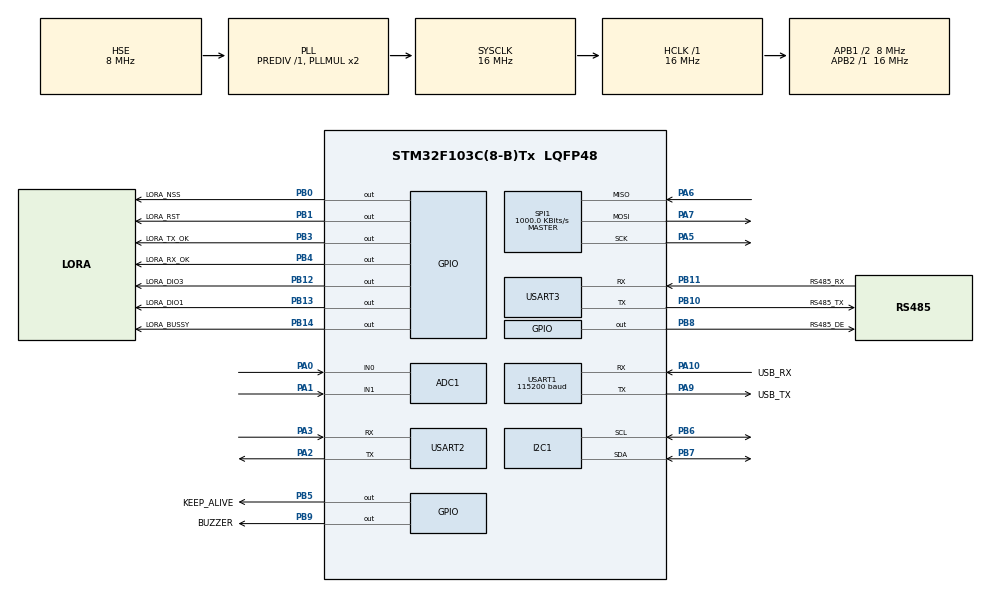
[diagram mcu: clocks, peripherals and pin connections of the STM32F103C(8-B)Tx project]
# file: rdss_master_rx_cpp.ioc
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ADC1.Channel-0\#ChannelRegularConversion=ADC_CHANNEL_0
ADC1.Channel-1\#ChannelRegularConversion=ADC_CHANNEL_1
ADC1.Channel-2\#ChannelRegularConversion=ADC_CHANNEL_VREFINT
ADC1.Channel-4\#ChannelRegularConversion=ADC_CHANNEL_0
ADC1.ContinuousConvMode=DISABLE
ADC1.ExternalTrigConv=ADC_SOFTWARE_START
ADC1.NbrOfConversion=4
ADC1.NbrOfConversionFlag=1
ADC1.Rank-0\#ChannelRegularConversion=1
ADC1.Rank-1\#ChannelRegularConversion=2
ADC1.Rank-2\#ChannelRegularConversion=3
ADC1.Rank-4\#ChannelRegularConversion=4
ADC1.SamplingTime-0\#ChannelRegularConversion=ADC_SAMPLETIME_239CYCLES_5
ADC1.SamplingTime-1\#ChannelRegularConversion=ADC_SAMPLETIME_239CYCLES_5
ADC1.SamplingTime-2\#ChannelRegularConversion=ADC_SAMPLETIME_239CYCLES_5
ADC1.SamplingTime-4\#ChannelRegularConversion=ADC_SAMPLETIME_1CYCLE_5
ADC1.master=1
I2C1.I2C_Mode=I2C_Fast
IWDG.Prescaler=IWDG_PRESCALER_128
IWDG.Reload=1875
Mcu.Family=STM32F1
Mcu.Name=STM32F103C(8-B)Tx
Mcu.Package=LQFP48
NVIC.PriorityGroup=NVIC_PRIORITYGROUP_4
NVIC.USART1_IRQn=true\:0\:0\:false\:false\:true\:true\:true\:true
PA0-WKUP.Signal=ADCx_IN0
PA1.Signal=ADCx_IN1
PA10.GPIO_Label=USB_RX
PA10.Mode=Asynchronous
PA10.Signal=USART1_RX
PA13.Mode=Serial_Wire
PA13.Signal=SYS_JTMS-SWDIO
PA14.Mode=Serial_Wire
PA14.Signal=SYS_JTCK-SWCLK
PA2.Mode=Asynchronous
PA2.Signal=USART2_TX
PA3.Mode=Asynchronous
PA3.Signal=USART2_RX
PA5.Mode=Full_Duplex_Master
PA5.Signal=SPI1_SCK
PA6.Mode=Full_Duplex_Master
PA6.Signal=SPI1_MISO
PA7.Mode=Full_Duplex_Master
PA7.Signal=SPI1_MOSI
PA9.GPIO_Label=USB_TX
PA9.Mode=Asynchronous
PA9.Signal=USART1_TX
PB0.GPIO_Label=LORA_NSS
PB0.Signal=GPIO_Output
PB1.GPIO_Label=LORA_RST
PB1.Signal=GPIO_Output
PB10.GPIO_Label=RS485_TX
PB10.Mode=Asynchronous
PB10.Signal=USART3_TX
PB11.GPIO_Label=RS485_RX
PB11.Mode=Asynchronous
PB11.Signal=USART3_RX
PB12.GPIO_Label=LORA_DIO3
PB12.Signal=GPIO_Output
PB13.GPIO_Label=LORA_DIO1
PB13.Signal=GPIO_Output
PB14.GPIO_Label=LORA_BUSSY
PB14.Signal=GPIO_Output
PB3.GPIO_Label=LORA_TX_OK
PB3.Signal=GPIO_Output
PB4.GPIO_Label=LORA_RX_OK
PB4.Signal=GPIO_Output
PB5.GPIO_Label=KEEP_ALIVE
PB5.Signal=GPIO_Output
PB6.Mode=I2C
PB6.Signal=I2C1_SCL
PB7.Mode=I2C
PB7.Signal=I2C1_SDA
PB8.GPIO_Label=RS485_DE
PB8.Signal=GPIO_Output
PB9.GPIO_Label=BUZZER
PB9.Signal=GPIO_Output
PD0-OSC_IN.Mode=HSE-External-Oscillator
PD0-OSC_IN.Signal=RCC_OSC_IN
PD1-OSC_OUT.Mode=HSE-External-Oscillator
PD1-OSC_OUT.Signal=RCC_OSC_OUT
ProjectManager.HeapSize=0x200
ProjectManager.StackSize=0x400
ProjectManager.TargetToolchain=STM32CubeIDE
RCC.AHBFreq_Value=16000000
RCC.APB1CLKDivider=RCC_HCLK_DIV2
RCC.APB1Freq_Value=8000000
RCC.APB1TimFreq_Value=16000000
RCC.APB2Freq_Value=16000000
RCC.APB2TimFreq_Value=16000000
RCC.HCLKFreq_Value=16000000
RCC.PLLSourceVirtual=RCC_PLLSOURCE_HSE
RCC.SYSCLKFreq_VALUE=16000000
RCC.SYSCLKSource=RCC_SYSCLKSOURCE_PLLCLK
RCC.USBFreq_Value=16000000
SH.ADCx_IN0.0=ADC1_IN0,IN0
SH.ADCx_IN1.0=ADC1_IN1,IN1
SPI1.BaudRatePrescaler=SPI_BAUDRATEPRESCALER_16
SPI1.CRCCalculation=SPI_CRCCALCULATION_DISABLE
SPI1.CalculateBaudRate=1000.0 KBits/s
SPI1.Direction=SPI_DIRECTION_2LINES
SPI1.Mode=SPI_MODE_MASTER
SPI1.VirtualType=VM_MASTER
USART1.BaudRate=115200
USART1.VirtualMode=VM_ASYNC
USART2.VirtualMode=VM_ASYNC
USART3.VirtualMode=VM_ASYNC
VP_ADC1_TempSens_Input.Mode=IN-TempSens
VP_ADC1_Vref_Input.Mode=IN-Vrefint
VP_CRC_VS_CRC.Mode=CRC_Activate
VP_IWDG_VS_IWDG.Mode=IWDG_Activate
board=custom

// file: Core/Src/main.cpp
/* USER CODE BEGIN Header */
/**
 ******************************************************************************
 * @file           : main.c
 * @brief          : Main program body
 ******************************************************************************
 * @attention
 *
 * Copyright (c) 2024 STMicroelectronics.
 * All rights reserved.
 *
 * This software is licensed under terms that can be found in the LICENSE file
 * in the root directory of this software component.
 * If no LICENSE file comes with this software, it is provided AS-IS.
 *
 ******************************************************************************
 */
/* USER CODE END Header */
#include "main.h"
#include "Gpio.hpp"
#include "GpioHandler.hpp"
#include "Lora.hpp"
#include "Memory.hpp"
#include "UartHandler.hpp"

/* USER CODE BEGIN PTD */

uint8_t lora_rcv_buffer[255] = { 0 };
uint8_t lora_rcv_bytes = 0;
uint32_t start = 0;
uint32_t finish = 0;
uint8_t buffer_rec[0x0B] = {0x7E, 0x00, 0x01, 0x02, 0x03, 0x0A, 0X11, 0X22, 0X88, 0X82, 0X7F};
uint32_t buffer_times_id[0x0A] = {0};
uint8_t buffer_id[0x0B] = {0};
uint8_t data_test[] ={ 0x7E, 0x10, 0x01, 0x11, 0xB2, 0x51, 0x84, 0x61, 0xC5, 0x2F, 0x88, 0x3E,
		0x92, 0x27, 0xBA, 0x59, 0xA3, 0x6C, 0xCD, 0x18, 0x8F, 0x49, 0x95, 0x35, 0xA8, 0x67, 0xDA,
		0x1F, 0x73, 0x46, 0x87, 0xB9, 0x21, 0xC2, 0x58, 0x3B, 0x76, 0x29, 0xDE, 0x14, 0x64, 0x93,
		0x4A, 0xBF, 0x22, 0x7D, 0xAC, 0x31, 0x98, 0x65, 0xDA, 0x2E, 0x50, 0x89, 0x34, 0xA1, 0x77,
		0xCE, 0x15, 0x6D, 0x53, 0xB4, 0x82, 0x27, 0x9F, 0x41, 0x6B, 0xC8, 0x32, 0xA7, 0x90, 0x54,
		0xE1, 0x2A, 0x76, 0xB3, 0x59, 0xCD, 0x24, 0x8B, 0x35, 0xE6, 0x93, 0x4F, 0xAA, 0x78, 0x61,
		0xB0, 0x2D, 0x97, 0x40, 0xAF, 0x64, 0xD3, 0x1A, 0x8E, 0x35, 0xC9, 0x53, 0xBD, 0x21, 0x74,
		0xE8, 0x69, 0xB2, 0x45, 0xAC, 0x2F, 0x90, 0xD6, 0x38, 0x1F, 0x72, 0xAB, 0x54, 0xE3, 0x6C,
		0x9A, 0x27, 0x51, 0xC4, 0xB8, 0x6E, 0xD2, 0x13, 0x7F, 0x9D, 0x35, 0x80, 0x4C, 0xB5, 0x63,
		0xDE, 0x28, 0x7B, 0x94, 0x5F, 0xA1, 0x6D, 0x42, 0xBE, 0x2A, 0x75, 0x90, 0x58, 0xC6, 0x3F,
		0xAD, 0x71, 0xD0, 0x37, 0xE9, 0x14, 0x65, 0xBF, 0x48, 0x93, 0x2D, 0x79, 0xA0, 0x46, 0xC2,
		0x1E, 0x8A, 0x54, 0xF9, 0x30, 0xB6, 0x67, 0xD8, 0x21, 0x9E, 0x4B, 0x73, 0xAF, 0x5D, 0xCE,
		0x34, 0x98, 0x41, 0xB3, 0x26, 0xE7, 0x5F, 0xA2, 0x4D, 0x91, 0x78, 0x6C, 0xBD, 0x39, 0xE0,
		0x17, 0x8D, 0x54, 0xC7, 0x29, 0xB1, 0x68, 0x95, 0x3C, 0xE2, 0x4A, 0x7D, 0xA8, 0x37, 0xCF,
		0x59, 0x94, 0x20, 0x62, 0xAD, 0x38, 0xF1, 0x5C, 0xB9, 0x43, 0xE6, 0x7A, 0x2F, 0x84, 0xC1,
		0x19, 0x63, 0xD7, 0x5B, 0xA4, 0x72, 0x39, 0xE1, 0x4C, 0xB5, 0x28, 0x90, 0xD3, 0x7F, 0x6A,
		0xF4, 0x12, 0x8B, 0x5E, 0xA7, 0x3D, 0xC8, 0x53, 0x1A, 0x87, 0xB0, 0x4E, 0x6F, 0x9B, 0xD4,
		0x27, 0x5F, 0xB1, 0x3A, 0xE9, 0x46, 0xCD };
/* USER CODE END PTD */

ADC_HandleTypeDef hadc1;

CRC_HandleTypeDef hcrc;

I2C_HandleTypeDef hi2c1;

IWDG_HandleTypeDef hiwdg;

SPI_HandleTypeDef hspi1;

UART_HandleTypeDef huart1;
UART_HandleTypeDef huart2;
UART_HandleTypeDef huart3;

/* USER CODE BEGIN PV */
UartHandler uart_mini_pc = UartHandler(&huart2);
UartHandler uart_cfg = UartHandler(&huart2);

uint8_t bytes_reciv_mini_pc;
uint8_t bytes_reciv_software;
uint8_t data_reciv_mini_pc[255] = { 0 };
uint8_t data_reciv_software[255] = { 0 };
/* USER CODE END PV */

void SystemClock_Config(void);
static void MX_GPIO_Init(void);
static void MX_I2C1_Init(void);
static void MX_SPI1_Init(void);
static void MX_USART1_UART_Init(void);
static void MX_USART2_UART_Init(void);
static void MX_USART3_UART_Init(void);
static void MX_ADC1_Init(void);
static void MX_CRC_Init(void);
static void MX_IWDG_Init(void);

int main(void) {

	/* MCU Configuration--------------------------------------------------------*/

	/* Reset of all peripherals, Initializes the Flash interface and the Systick. */
	HAL_Init();

	/* Configure the system clock */
	SystemClock_Config();

	/* Initialize all configured peripherals */
	MX_GPIO_Init();
	MX_I2C1_Init();
	MX_SPI1_Init();
	MX_USART1_UART_Init();
	MX_USART2_UART_Init();
	MX_USART3_UART_Init();
	MX_ADC1_Init();
	MX_CRC_Init();
	//MX_IWDG_Init();
	/* USER CODE BEGIN 2 */
	Memory eeprom = Memory(&hi2c1);

	GpioHandler gpio_handler = GpioHandler();

	CommandMessage cmd_sniffer = CommandMessage(
			static_cast<uint8_t>(MODULE_FUNCTION::SNIFFER), 0x00);

	CommandMessage command = CommandMessage(
				static_cast<uint8_t>(MODULE_FUNCTION::SERVER), 0x00);

	Gpio nss_lora = Gpio(LORA_NSS_GPIO_Port, LORA_NSS_Pin);
	Gpio rst_lora = Gpio(LORA_RST_GPIO_Port, LORA_RST_Pin);

	Lora lora = Lora(nss_lora, rst_lora, &hspi1, &eeprom);
	Gpio lora_rx_led = Gpio(LORA_RX_OK_GPIO_Port, LORA_RX_OK_Pin);

//	lora.set_lora_settings(LoraBandWidth::BW_500KHZ, CodingRate::CR_4_6,
//			SpreadFactor::SF_7, DOWNLINK_FREQ, UPLINK_FREQ);
	lora.check_already_store_data();
	uart_cfg.enable_receive_interrupt(1);

	HAL_GPIO_WritePin(KEEP_ALIVE_GPIO_Port, KEEP_ALIVE_Pin, GPIO_PIN_SET);
	uint32_t keep_alive_counter = HAL_GetTick();

	/* USER CODE END 2 */

	/* Infinite loop */
	while (1) {

		//RECEPCCION LORA
		lora_rcv_bytes = lora.receive(lora_rcv_buffer, LinkMode::UPLINK);
		if (lora_rcv_bytes > 0) {
			gpio_handler.on(lora_rx_led);

			STATUS status_data = cmd_sniffer.validate(lora_rcv_buffer,
					lora_rcv_bytes);
			cmd_sniffer.saveFrame(lora_rcv_buffer, lora_rcv_bytes); // llegan 197 bytes
			if ((status_data == STATUS::RETRANSMIT_FRAME)) {
				uart_mini_pc.transmitMessage(lora_rcv_buffer, lora_rcv_bytes);
			}
			memset(lora_rcv_buffer, 0, sizeof(lora_rcv_buffer));

			gpio_handler.off(lora_rx_led);
			memset(lora_rcv_buffer, 0, lora_rcv_bytes);
			lora_rcv_bytes = 0;
			cmd_sniffer.reset(1);
			/* USER CODE BEGIN 3 */
		}

		//Configuracion Lora por UART de forma local
		if (bytes_reciv_software > 0) {
			STATUS status_data = command.validate(data_reciv_software,
					bytes_reciv_software);
			if (status_data == STATUS::CONFIG_FRAME) {

				switch (command.getCommandId()) {

				case QUERY_RX_FREQ: {
					uint8_t freq_array[4];
					lora.read_settings();
					uint32_t rx_freq = lora.get_rx_frequency();
					float freqOut;
					freqOut = rx_freq / 1000000.0f;
					memcpy(freq_array, &freqOut, sizeof(freqOut));
					command.set_message(freq_array, sizeof(freq_array));
					std::vector<uint8_t> message_composed =
							command.get_composed_message();
					command.composeMessage(&message_composed);
					message_composed = command.get_composed_message();
					uart_cfg.transmitMessage(message_composed.data(),
							message_composed.size());
					command.reset(1);
					message_composed.clear();
					break;
				}
				case QUERY_TX_FREQ: {
					uint8_t freq_array[4];
					lora.read_settings();
					uint32_t tx_freq = lora.get_tx_frequency();
					float freqOut;
					freqOut = tx_freq / 1000000.0f;
					memcpy(freq_array, &freqOut, sizeof(freqOut));
					command.set_message(freq_array, sizeof(freq_array));
					std::vector<uint8_t> message_composed =
							command.get_composed_message();
					command.composeMessage(&message_composed);
					message_composed = command.get_composed_message();
					uart_cfg.transmitMessage(message_composed.data(),
							message_composed.size());
					command.reset(1);
					message_composed.clear();
					break;
				}
				case QUERY_SPREAD_FACTOR: {
					uint8_t spread_array[1];
					lora.read_settings();
					uint8_t spread_factor = lora.get_spread_factor();
					spread_factor = spread_factor - SPREAD_FACTOR_OFFSET;
					memcpy(spread_array, &spread_factor, sizeof(spread_factor));
					command.set_message(spread_array, sizeof(spread_array));
					std::vector<uint8_t> message_composed =
							command.get_composed_message();
					command.composeMessage(&message_composed);
					message_composed = command.get_composed_message();
					uart_cfg.transmitMessage(message_composed.data(),
							message_composed.size());
					command.reset(1);
					message_composed.clear();
					break;
				}
				case QUERY_CODING_RATE: {
					uint8_t coding_array[1];
					lora.read_settings();
					uint8_t coding_rate = lora.get_coding_rate();
					memcpy(coding_array, &coding_rate, sizeof(coding_rate));
					command.set_message(coding_array, sizeof(coding_array));
					std::vector<uint8_t> message_composed =
							command.get_composed_message();
					command.composeMessage(&message_composed);
					message_composed = command.get_composed_message();
					uart_cfg.transmitMessage(message_composed.data(),
							message_composed.size());
					command.reset(1);
					message_composed.clear();
					break;
				}
				case QUERY_BANDWIDTH: {
					uint8_t bw_array[1];
					lora.read_settings();
					uint8_t bw = lora.get_bandwidth();
					bw = bw + BANDWIDTH_OFFSET;
					memcpy(bw_array, &bw, sizeof(bw));
					command.set_message(bw_array, sizeof(bw_array));
					std::vector<uint8_t> message_composed =
							command.get_composed_message();
					command.composeMessage(&message_composed);
					message_composed = command.get_composed_message();
					uart_cfg.transmitMessage(message_composed.data(),
							message_composed.size());
					command.reset(1);
					message_composed.clear();
					break;
				}
				case SET_TX_FREQ: {
					uint32_t freq = command.getDataAsUint32();
					int freq_int = command.freqDecode();
					freq = (uint32_t) freq_int;
					lora.set_tx_freq(freq);
					lora.save_settings();
					lora.configure_modem();
					uint8_t freq_array[4];
					lora.read_settings();
					uint32_t tx_freq = lora.get_tx_frequency();
					float freqOut;
					freqOut = tx_freq / 1000000.0f;
					memcpy(freq_array, &freqOut, sizeof(freqOut));
					command.set_message(freq_array, sizeof(freq_array));
					std::vector<uint8_t> message_composed =
							command.get_composed_message();
					command.composeMessage(&message_composed);
					message_composed = command.get_composed_message();
					uart_cfg.transmitMessage(message_composed.data(),
							message_composed.size());
					command.reset(1);
					message_composed.clear();

					break;
				}
				case SET_RX_FREQ: {
					uint32_t freq = command.getDataAsUint32();

					int freq_int = command.freqDecode();

					freq = (uint32_t) freq_int;

					lora.set_rx_freq(freq);
					lora.save_settings();
					lora.configure_modem();
					uint8_t freq_array[4];
					lora.read_settings();
					uint32_t rx_freq = lora.get_rx_frequency();
					float freqOut;
					freqOut = rx_freq / 1000000.0f;
					memcpy(freq_array, &freqOut, sizeof(freqOut));
					command.set_message(freq_array, sizeof(freq_array));
					std::vector<uint8_t> message_composed =
							command.get_composed_message();
					command.composeMessage(&message_composed);
					message_composed = command.get_composed_message();
					uart_cfg.transmitMessage(message_composed.data(),
							message_composed.size());
					command.reset(1);
					message_composed.clear();
					break;
				}
				case SET_BANDWIDTH: {
					uint8_t bd = command.getDataAsUint8();
					bd = bd - BANDWIDTH_OFFSET;
					lora.set_bandwidth(bd);
					lora.save_settings();
					lora.configure_modem();
					uint8_t bw_array[1];
					lora.read_settings();
					uint8_t bw = lora.get_bandwidth();
					bw = bw + BANDWIDTH_OFFSET;
					memcpy(bw_array, &bw, sizeof(bw));
					command.set_message(bw_array, sizeof(bw_array));
					std::vector<uint8_t> message_composed =
							command.get_composed_message();
					command.composeMessage(&message_composed);
					message_composed = command.get_composed_message();
					uart_cfg.transmitMessage(message_composed.data(),
							message_composed.size());
					command.reset(1);
					message_composed.clear();
					break;
				}
				case SET_SPREAD_FACTOR: {
					uint8_t sf = command.getDataAsUint8();
					sf = sf + SPREAD_FACTOR_OFFSET;
					lora.set_spread_factor(sf);
					lora.save_settings();
					lora.configure_modem();
					uint8_t spread_array[1];
					lora.read_settings();
					uint8_t spread_factor = lora.get_spread_factor();
					spread_factor = spread_factor - SPREAD_FACTOR_OFFSET;
					memcpy(spread_array, &spread_factor, sizeof(spread_factor));
					command.set_message(spread_array, sizeof(spread_array));
					std::vector<uint8_t> message_composed =
							command.get_composed_message();
					command.composeMessage(&message_composed);
					message_composed = command.get_composed_message();
					uart_cfg.transmitMessage(message_composed.data(),
							message_composed.size());
					command.reset(1);
					message_composed.clear();
					break;
				}
				case SET_CODING_RATE: {
					uint8_t cr = command.getDataAsUint8();
					lora.set_coding_rate(cr);
					lora.save_settings();
					lora.configure_modem();
					uint8_t coding_array[1];
					lora.read_settings();
					uint8_t coding_rate = lora.get_coding_rate();
					memcpy(coding_array, &coding_rate, sizeof(coding_rate));
					command.set_message(coding_array, sizeof(coding_array));
					std::vector<uint8_t> message_composed =
							command.get_composed_message();
					command.composeMessage(&message_composed);
					message_composed = command.get_composed_message();
					uart_cfg.transmitMessage(message_composed.data(),
							message_composed.size());
					command.reset(1);
					message_composed.clear();
					break;
				}
				case SET_UART_BAUDRATE: {
					lora.set_default_parameters();
				}
				default:
					break;
				}

			}
			memset(data_reciv_software, 0, bytes_reciv_software);
			bytes_reciv_software = 0;

			/* USER CODE END 3 */
		}

		if (HAL_GetTick() - keep_alive_counter > 1000)
			keep_alive_counter = HAL_GetTick();
		else {
			if (HAL_GetTick() - keep_alive_counter > 50)
				HAL_GPIO_WritePin(KEEP_ALIVE_GPIO_Port, KEEP_ALIVE_Pin,
						GPIO_PIN_RESET);
			else
				HAL_GPIO_WritePin(KEEP_ALIVE_GPIO_Port, KEEP_ALIVE_Pin,
						GPIO_PIN_SET);
		}

	}
}

void HAL_UART_RxCpltCallback(UART_HandleTypeDef *huart)
{
	if (&huart2 == huart)
		bytes_reciv_software = uart_cfg.read_byte(data_reciv_software);

}

void SystemClock_Config(void)
{
  RCC_OscInitTypeDef RCC_OscInitStruct = {0};
  RCC_ClkInitTypeDef RCC_ClkInitStruct = {0};
  RCC_PeriphCLKInitTypeDef PeriphClkInit = {0};

  /** Initializes the RCC Oscillators according to the specified parameters
  * in the RCC_OscInitTypeDef structure.
  */
  RCC_OscInitStruct.OscillatorType = RCC_OSCILLATORTYPE_LSI|RCC_OSCILLATORTYPE_HSE;
  RCC_OscInitStruct.HSEState = RCC_HSE_ON;
  RCC_OscInitStruct.HSEPredivValue = RCC_HSE_PREDIV_DIV1;
  RCC_OscInitStruct.HSIState = RCC_HSI_ON;
  RCC_OscInitStruct.LSIState = RCC_LSI_ON;
  RCC_OscInitStruct.PLL.PLLState = RCC_PLL_ON;
  RCC_OscInitStruct.PLL.PLLSource = RCC_PLLSOURCE_HSE;
  RCC_OscInitStruct.PLL.PLLMUL = RCC_PLL_MUL2;
  if (HAL_RCC_OscConfig(&RCC_OscInitStruct) != HAL_OK)
  {
    Error_Handler();
  }

  /** Initializes the CPU, AHB and APB buses clocks
  */
  RCC_ClkInitStruct.ClockType = RCC_CLOCKTYPE_HCLK|RCC_CLOCKTYPE_SYSCLK
                              |RCC_CLOCKTYPE_PCLK1|RCC_CLOCKTYPE_PCLK2;
  RCC_ClkInitStruct.SYSCLKSource = RCC_SYSCLKSOURCE_PLLCLK;
  RCC_ClkInitStruct.AHBCLKDivider = RCC_SYSCLK_DIV1;
  RCC_ClkInitStruct.APB1CLKDivider = RCC_HCLK_DIV2;
  RCC_ClkInitStruct.APB2CLKDivider = RCC_HCLK_DIV1;

  if (HAL_RCC_ClockConfig(&RCC_ClkInitStruct, FLASH_LATENCY_0) != HAL_OK)
  {
    Error_Handler();
  }
  PeriphClkInit.PeriphClockSelection = RCC_PERIPHCLK_ADC;
  PeriphClkInit.AdcClockSelection = RCC_ADCPCLK2_DIV2;
  if (HAL_RCCEx_PeriphCLKConfig(&PeriphClkInit) != HAL_OK)
  {
    Error_Handler();
  }
}

static void MX_ADC1_Init(void)
{

  ADC_ChannelConfTypeDef sConfig = {0};

  /** Common config
  */
  hadc1.Instance = ADC1;
  hadc1.Init.ScanConvMode = ADC_SCAN_ENABLE;
  hadc1.Init.ContinuousConvMode = DISABLE;
  hadc1.Init.DiscontinuousConvMode = DISABLE;
  hadc1.Init.ExternalTrigConv = ADC_SOFTWARE_START;
  hadc1.Init.DataAlign = ADC_DATAALIGN_RIGHT;
  hadc1.Init.NbrOfConversion = 4;
  if (HAL_ADC_Init(&hadc1) != HAL_OK)
  {
    Error_Handler();
  }

  /** Configure Regular Channel
  */
  sConfig.Channel = ADC_CHANNEL_0;
  sConfig.Rank = ADC_REGULAR_RANK_1;
  sConfig.SamplingTime = ADC_SAMPLETIME_239CYCLES_5;
  if (HAL_ADC_ConfigChannel(&hadc1, &sConfig) != HAL_OK)
  {
    Error_Handler();
  }

  /** Configure Regular Channel
  */
  sConfig.Channel = ADC_CHANNEL_1;
  sConfig.Rank = ADC_REGULAR_RANK_2;
  if (HAL_ADC_ConfigChannel(&hadc1, &sConfig) != HAL_OK)
  {
    Error_Handler();
  }

  /** Configure Regular Channel
  */
  sConfig.Channel = ADC_CHANNEL_VREFINT;
  sConfig.Rank = ADC_REGULAR_RANK_3;
  if (HAL_ADC_ConfigChannel(&hadc1, &sConfig) != HAL_OK)
  {
    Error_Handler();
  }

  /** Configure Regular Channel
  */
  sConfig.Channel = ADC_CHANNEL_0;
  sConfig.Rank = ADC_REGULAR_RANK_4;
  sConfig.SamplingTime = ADC_SAMPLETIME_1CYCLE_5;
  if (HAL_ADC_ConfigChannel(&hadc1, &sConfig) != HAL_OK)
  {
    Error_Handler();
  }

}

static void MX_CRC_Init(void)
{

  hcrc.Instance = CRC;
  if (HAL_CRC_Init(&hcrc) != HAL_OK)
  {
    Error_Handler();
  }

}

static void MX_I2C1_Init(void)
{

  hi2c1.Instance = I2C1;
  hi2c1.Init.ClockSpeed = 400000;
  hi2c1.Init.DutyCycle = I2C_DUTYCYCLE_2;
  hi2c1.Init.OwnAddress1 = 0;
  hi2c1.Init.AddressingMode = I2C_ADDRESSINGMODE_7BIT;
  hi2c1.Init.DualAddressMode = I2C_DUALADDRESS_DISABLE;
  hi2c1.Init.OwnAddress2 = 0;
  hi2c1.Init.GeneralCallMode = I2C_GENERALCALL_DISABLE;
  hi2c1.Init.NoStretchMode = I2C_NOSTRETCH_DISABLE;
  if (HAL_I2C_Init(&hi2c1) != HAL_OK)
  {
    Error_Handler();
  }

}

static void MX_IWDG_Init(void)
{

  hiwdg.Instance = IWDG;
  hiwdg.Init.Prescaler = IWDG_PRESCALER_128;
  hiwdg.Init.Reload = 1875;
  if (HAL_IWDG_Init(&hiwdg) != HAL_OK)
  {
    Error_Handler();
  }

}

static void MX_SPI1_Init(void)
{

  /* SPI1 parameter configuration*/
  hspi1.Instance = SPI1;
  hspi1.Init.Mode = SPI_MODE_MASTER;
  hspi1.Init.Direction = SPI_DIRECTION_2LINES;
  hspi1.Init.DataSize = SPI_DATASIZE_8BIT;
  hspi1.Init.CLKPolarity = SPI_POLARITY_LOW;
  hspi1.Init.CLKPhase = SPI_PHASE_1EDGE;
  hspi1.Init.NSS = SPI_NSS_SOFT;
  hspi1.Init.BaudRatePrescaler = SPI_BAUDRATEPRESCALER_16;
  hspi1.Init.FirstBit = SPI_FIRSTBIT_MSB;
  hspi1.Init.TIMode = SPI_TIMODE_DISABLE;
  hspi1.Init.CRCCalculation = SPI_CRCCALCULATION_DISABLE;
  hspi1.Init.CRCPolynomial = 10;
  if (HAL_SPI_Init(&hspi1) != HAL_OK)
  {
    Error_Handler();
  }

}

static void MX_USART1_UART_Init(void)
{

  huart1.Instance = USART1;
  huart1.Init.BaudRate = 115200;
  huart1.Init.WordLength = UART_WORDLENGTH_8B;
  huart1.Init.StopBits = UART_STOPBITS_1;
  huart1.Init.Parity = UART_PARITY_NONE;
  huart1.Init.Mode = UART_MODE_TX_RX;
  huart1.Init.HwFlowCtl = UART_HWCONTROL_NONE;
  huart1.Init.OverSampling = UART_OVERSAMPLING_16;
  if (HAL_UART_Init(&huart1) != HAL_OK)
  {
    Error_Handler();
  }

}

static void MX_USART2_UART_Init(void)
{

  huart2.Instance = USART2;
  huart2.Init.BaudRate = 115200;
  huart2.Init.WordLength = UART_WORDLENGTH_8B;
  huart2.Init.StopBits = UART_STOPBITS_1;
  huart2.Init.Parity = UART_PARITY_NONE;
  huart2.Init.Mode = UART_MODE_TX_RX;
  huart2.Init.HwFlowCtl = UART_HWCONTROL_NONE;
  huart2.Init.OverSampling = UART_OVERSAMPLING_16;
  if (HAL_UART_Init(&huart2) != HAL_OK)
  {
    Error_Handler();
  }

}

static void MX_USART3_UART_Init(void)
{

  huart3.Instance = USART3;
  huart3.Init.BaudRate = 115200;
  huart3.Init.WordLength = UART_WORDLENGTH_8B;
  huart3.Init.StopBits = UART_STOPBITS_1;
  huart3.Init.Parity = UART_PARITY_NONE;
  huart3.Init.Mode = UART_MODE_TX_RX;
  huart3.Init.HwFlowCtl = UART_HWCONTROL_NONE;
  huart3.Init.OverSampling = UART_OVERSAMPLING_16;
  if (HAL_UART_Init(&huart3) != HAL_OK)
  {
    Error_Handler();
  }

}

static void MX_GPIO_Init(void)
{
  GPIO_InitTypeDef GPIO_InitStruct = {0};

  /* GPIO Ports Clock Enable */
  __HAL_RCC_GPIOD_CLK_ENABLE();
  __HAL_RCC_GPIOA_CLK_ENABLE();
  __HAL_RCC_GPIOB_CLK_ENABLE();

  /*Configure GPIO pin Output Level */
  HAL_GPIO_WritePin(GPIOB, LORA_NSS_Pin|LORA_RST_Pin|LORA_DIO3_Pin|LORA_DIO1_Pin
                          |LORA_BUSSY_Pin|LORA_TX_OK_Pin|LORA_RX_OK_Pin|KEEP_ALIVE_Pin
                          |RS485_DE_Pin|BUZZER_Pin, GPIO_PIN_RESET);

  /*Configure GPIO pins : LORA_NSS_Pin LORA_RST_Pin LORA_DIO3_Pin LORA_DIO1_Pin
                           LORA_BUSSY_Pin LORA_TX_OK_Pin LORA_RX_OK_Pin KEEP_ALIVE_Pin
                           RS485_DE_Pin BUZZER_Pin */
  GPIO_InitStruct.Pin = LORA_NSS_Pin|LORA_RST_Pin|LORA_DIO3_Pin|LORA_DIO1_Pin
                          |LORA_BUSSY_Pin|LORA_TX_OK_Pin|LORA_RX_OK_Pin|KEEP_ALIVE_Pin
                          |RS485_DE_Pin|BUZZER_Pin;
  GPIO_InitStruct.Mode = GPIO_MODE_OUTPUT_PP;
  GPIO_InitStruct.Pull = GPIO_NOPULL;
  GPIO_InitStruct.Speed = GPIO_SPEED_FREQ_LOW;
  HAL_GPIO_Init(GPIOB, &GPIO_InitStruct);

}

void Error_Handler(void)
{
  __disable_irq();
  while (1)
  {
  }
}
